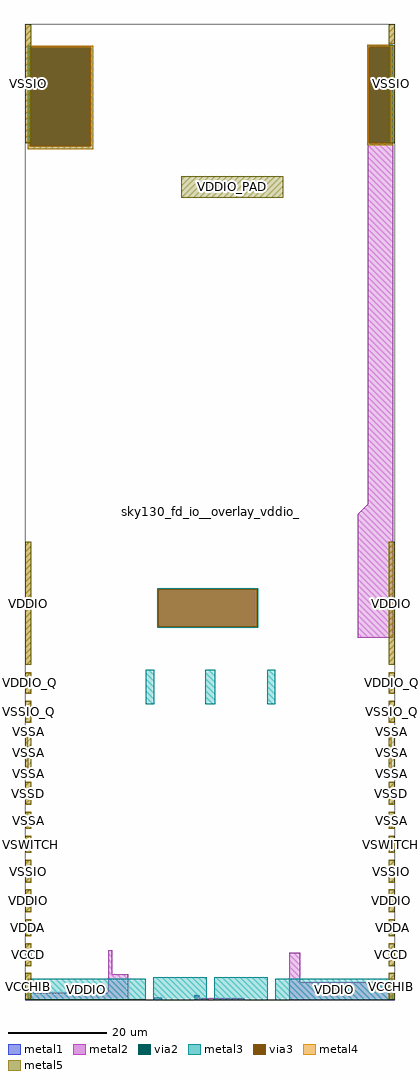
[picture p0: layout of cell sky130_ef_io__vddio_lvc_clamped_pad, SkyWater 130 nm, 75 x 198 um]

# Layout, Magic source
magic
tech sky130A
magscale 1 2
<< metal1 >>
rect 6867 95 7067 195
rect 5242 -7 5540 78
<< metal2 >>
rect 13891 38677 14940 38739
rect 13891 34758 13939 38677
rect 14834 34758 14940 38677
tri 13491 19705 13891 20105 se
rect 13891 19705 14940 34758
rect 13491 19516 14940 19705
rect 13496 14688 14940 19516
rect 3372 1045 3526 2009
rect 3372 287 4185 1045
rect 98 0 4185 287
rect 10707 715 11164 1901
rect 3372 -7 4185 0
rect 6888 -7 8888 58
rect 10707 -7 14940 715
<< via2 >>
rect 185 34628 2657 38656
rect 13939 34758 14834 38677
<< metal3 >>
rect 103 38656 2759 38720
rect 103 34628 185 38656
rect 2657 34628 2759 38656
rect 13888 38677 14908 38743
rect 13888 34758 13939 38677
rect 14834 34758 14908 38677
rect 13888 34664 14908 34758
rect 103 34519 2759 34628
rect 5354 16660 9453 16700
rect 5354 15138 5394 16660
rect 9413 15138 9453 16660
rect 5354 15098 9453 15138
rect 4900 11988 5245 13393
rect 7313 11988 7706 13393
rect 9819 11988 10151 13393
rect 98 0 4900 862
rect 5200 -7 7374 918
rect 7676 -7 9850 918
rect 10151 -7 14940 862
<< via3 >>
rect 185 34628 2657 38656
rect 13939 34758 14834 38677
rect 5394 15138 9413 16660
<< metal4 >>
rect 0 38720 254 39593
rect 14746 38784 15000 39593
rect 14746 38743 14820 38784
rect 13888 38739 14820 38743
rect 0 38656 2759 38720
rect 0 34750 185 38656
rect 103 34628 185 34750
rect 2657 34628 2759 38656
rect 13888 38677 15000 38739
rect 13888 34758 13939 38677
rect 14834 34758 15000 38677
rect 13888 34750 15000 34758
rect 13888 34664 14908 34750
rect 103 34519 2759 34628
rect 0 13600 254 18593
rect 14746 13600 15000 18593
rect 0 12410 254 13300
rect 14746 12410 15000 13300
rect 0 11240 254 12130
rect 14746 11240 15000 12130
rect 0 10874 254 10940
rect 14746 10874 15000 10940
rect 0 10218 100 10814
rect 14746 10218 14846 10814
rect 0 9922 254 10158
rect 14746 9922 15000 10158
rect 0 9266 116 9862
rect 14746 9266 14862 9862
rect 0 9140 254 9206
rect 14746 9140 15000 9206
rect 0 7910 254 8840
rect 14746 7910 15000 8840
rect 0 6940 254 7630
rect 14746 6940 15000 7630
rect 0 5970 254 6660
rect 14746 5970 15000 6660
rect 0 4760 254 5690
rect 14746 4760 15000 5690
rect 0 3550 254 4480
rect 14746 3550 15000 4480
rect 0 2580 254 3270
rect 14746 2580 15000 3270
rect 0 1370 254 2300
rect 14746 1370 15000 2300
rect 0 0 254 1090
rect 14746 0 15000 1090
<< metal5 >>
rect 0 34750 254 39593
rect 14746 38784 15000 39593
rect 14746 38739 14820 38784
rect 14746 34750 15000 38739
rect 6339 32546 10468 33417
rect 0 13600 254 18590
rect 14746 13600 15000 18590
rect 0 12430 254 13280
rect 14746 12430 15000 13280
rect 0 11260 254 12110
rect 14746 11260 15000 12110
rect 0 9140 254 10940
rect 14746 9140 15000 10940
rect 0 7930 254 8820
rect 14746 7930 15000 8820
rect 0 6960 254 7610
rect 14746 6960 15000 7610
rect 0 5990 254 6640
rect 14746 5990 15000 6640
rect 0 4780 254 5670
rect 14746 4780 15000 5670
rect 0 3570 254 4460
rect 14746 3570 15000 4460
rect 0 2600 254 3250
rect 14746 2600 15000 3250
rect 0 1390 254 2280
rect 14746 1390 15000 2280
rect 0 20 254 1070
rect 14746 20 15000 1070
use sky130_fd_io__overlay_vddio_lvc  sky130_fd_io__overlay_vddio_lvc_0 $PDKPATH/libs.ref/sky130_fd_io/mag
transform 1 0 0 0 1 -7
box 0 7 15000 39600
use sky130_fd_io__top_power_lvc_wpad  sky130_fd_io__top_power_lvc_wpad_2 $PDKPATH/libs.ref/sky130_fd_io/mag
transform 1 0 0 0 1 -7
box 0 0 15000 39600
<< labels >>
flabel metal3 s 10151 -7 14940 862 0 FreeSans 4000 0 0 0 VDDIO
port 14 nsew power bidirectional
flabel metal3 s 100 -7 4900 862 0 FreeSans 2000 0 0 0 VDDIO
port 14 nsew power bidirectional
flabel metal5 s 14746 9140 15000 10940 3 FreeSans 520 180 0 0 VSSA
port 9 nsew ground bidirectional
flabel metal5 s 14807 2600 15000 3250 3 FreeSans 520 180 0 0 VDDA
port 10 nsew power bidirectional
flabel metal5 s 14746 7930 15000 8820 3 FreeSans 520 180 0 0 VSSD
port 17 nsew ground bidirectional
flabel metal5 s 14746 11260 15000 12110 3 FreeSans 520 180 0 0 VSSIO_Q
port 18 nsew ground bidirectional
flabel metal5 s 14746 4780 15000 5670 3 FreeSans 520 180 0 0 VSSIO
port 16 nsew ground bidirectional
flabel metal5 s 14746 5990 15000 6640 3 FreeSans 520 180 0 0 VSWITCH
port 11 nsew power bidirectional
flabel metal5 s 14746 6961 15000 7610 3 FreeSans 520 180 0 0 VSSA
port 9 nsew ground bidirectional
flabel metal5 s 14746 1390 15000 2280 3 FreeSans 520 180 0 0 VCCD
port 15 nsew power bidirectional
flabel metal5 s 14746 12430 15000 13280 3 FreeSans 520 180 0 0 VDDIO_Q
port 12 nsew power bidirectional
flabel metal5 s 14746 13600 15000 18590 3 FreeSans 520 180 0 0 VDDIO
port 14 nsew power bidirectional
flabel metal5 s 14746 20 15000 1070 3 FreeSans 520 180 0 0 VCCHIB
port 13 nsew power bidirectional
flabel metal5 s 14746 3570 15000 4460 3 FreeSans 520 180 0 0 VDDIO
port 14 nsew power bidirectional
flabel metal5 s 0 13600 254 18590 3 FreeSans 520 0 0 0 VDDIO
port 14 nsew power bidirectional
flabel metal5 s 0 7930 254 8820 3 FreeSans 520 0 0 0 VSSD
port 17 nsew ground bidirectional
flabel metal5 s 0 11260 254 12110 3 FreeSans 520 0 0 0 VSSIO_Q
port 18 nsew ground bidirectional
flabel metal5 s 0 5990 254 6640 3 FreeSans 520 0 0 0 VSWITCH
port 11 nsew power bidirectional
flabel metal5 s 0 4780 254 5670 3 FreeSans 520 0 0 0 VSSIO
port 16 nsew ground bidirectional
flabel metal5 s 0 2600 193 3250 3 FreeSans 520 0 0 0 VDDA
port 10 nsew power bidirectional
flabel metal5 s 0 3570 254 4460 3 FreeSans 520 0 0 0 VDDIO
port 14 nsew power bidirectional
flabel metal5 s 0 1390 254 2280 3 FreeSans 520 0 0 0 VCCD
port 15 nsew power bidirectional
flabel metal5 s 0 12430 254 13280 3 FreeSans 520 0 0 0 VDDIO_Q
port 12 nsew power bidirectional
flabel metal5 s 0 9140 254 10940 3 FreeSans 520 0 0 0 VSSA
port 9 nsew ground bidirectional
flabel metal5 s 0 6961 254 7610 3 FreeSans 520 0 0 0 VSSA
port 9 nsew ground bidirectional
flabel metal5 s 0 20 254 1070 3 FreeSans 520 0 0 0 VCCHIB
port 13 nsew power bidirectional
flabel metal4 s 14746 7910 15000 8840 3 FreeSans 520 180 0 0 VSSD
port 17 nsew ground bidirectional
flabel metal4 s 14807 2580 15000 3270 3 FreeSans 520 180 0 0 VDDA
port 10 nsew power bidirectional
flabel metal4 s 14746 11240 15000 12130 3 FreeSans 520 180 0 0 VSSIO_Q
port 18 nsew ground bidirectional
flabel metal4 s 14746 4760 15000 5690 3 FreeSans 520 180 0 0 VSSIO
port 16 nsew ground bidirectional
flabel metal4 s 14746 5970 15000 6660 3 FreeSans 520 180 0 0 VSWITCH
port 11 nsew power bidirectional
flabel metal4 s 14746 9922 15000 10158 3 FreeSans 520 180 0 0 VSSA
port 9 nsew ground bidirectional
flabel metal4 s 14746 10874 15000 10940 3 FreeSans 520 180 0 0 VSSA
port 9 nsew ground bidirectional
flabel metal4 s 14746 0 15000 1090 3 FreeSans 520 180 0 0 VCCHIB
port 13 nsew power bidirectional
flabel metal4 s 14746 3550 15000 4480 3 FreeSans 520 180 0 0 VDDIO
port 14 nsew power bidirectional
flabel metal4 s 14746 9140 15000 9206 3 FreeSans 520 180 0 0 VSSA
port 9 nsew ground bidirectional
flabel metal4 s 14746 6940 15000 7630 3 FreeSans 520 180 0 0 VSSA
port 9 nsew ground bidirectional
flabel metal4 s 14746 12410 15000 13300 3 FreeSans 520 180 0 0 VDDIO_Q
port 12 nsew power bidirectional
flabel metal4 s 14746 1370 15000 2300 3 FreeSans 520 180 0 0 VCCD
port 15 nsew power bidirectional
flabel metal4 s 14746 9266 15000 9862 3 FreeSans 520 180 0 0 AMUXBUS_B
port 1 nsew signal bidirectional
flabel metal4 s 14746 34750 15000 39593 3 FreeSans 520 180 0 0 VSSIO
port 16 nsew ground bidirectional
flabel metal4 s 14746 10218 15000 10814 3 FreeSans 520 180 0 0 AMUXBUS_A
port 0 nsew signal bidirectional
flabel metal4 s 14746 13600 15000 18593 3 FreeSans 520 180 0 0 VDDIO
port 14 nsew power bidirectional
flabel metal4 s 0 34750 254 39593 3 FreeSans 520 0 0 0 VSSIO
port 16 nsew ground bidirectional
flabel metal4 s 0 3550 254 4480 3 FreeSans 520 0 0 0 VDDIO
port 14 nsew power bidirectional
flabel metal4 s 0 12410 254 13300 3 FreeSans 520 0 0 0 VDDIO_Q
port 12 nsew power bidirectional
flabel metal4 s 0 13600 254 18593 3 FreeSans 520 0 0 0 VDDIO
port 14 nsew power bidirectional
flabel metal4 s 0 1370 254 2300 3 FreeSans 520 0 0 0 VCCD
port 15 nsew power bidirectional
flabel metal4 s 0 9140 254 9206 3 FreeSans 520 0 0 0 VSSA
port 9 nsew ground bidirectional
flabel metal4 s 0 5970 254 6660 3 FreeSans 520 0 0 0 VSWITCH
port 11 nsew power bidirectional
flabel metal4 s 0 0 254 1090 3 FreeSans 520 0 0 0 VCCHIB
port 13 nsew power bidirectional
flabel metal4 s 0 9922 254 10158 3 FreeSans 520 0 0 0 VSSA
port 9 nsew ground bidirectional
flabel metal4 s 0 11240 254 12130 3 FreeSans 520 0 0 0 VSSIO_Q
port 18 nsew ground bidirectional
flabel metal4 s 0 4760 254 5690 3 FreeSans 520 0 0 0 VSSIO
port 16 nsew ground bidirectional
flabel metal4 s 0 2580 193 3270 3 FreeSans 520 0 0 0 VDDA
port 10 nsew power bidirectional
flabel metal4 s 0 10218 254 10814 3 FreeSans 520 0 0 0 AMUXBUS_A
port 0 nsew signal bidirectional
flabel metal4 s 0 10874 254 10940 3 FreeSans 520 0 0 0 VSSA
port 9 nsew ground bidirectional
flabel metal4 s 0 6940 254 7630 3 FreeSans 520 0 0 0 VSSA
port 9 nsew ground bidirectional
flabel metal4 s 0 7910 254 8840 3 FreeSans 520 0 0 0 VSSD
port 17 nsew ground bidirectional
flabel metal4 s 0 9266 254 9862 3 FreeSans 520 0 0 0 AMUXBUS_B
port 1 nsew signal bidirectional
flabel metal5 s 6339 32546 10468 33417 0 FreeSans 2000 0 0 0 VDDIO_PAD
port 7 nsew power bidirectional
<< properties >>
string FIXED_BBOX 0 0 15000 39593
string LEFclass PAD POWER
<< end >>
